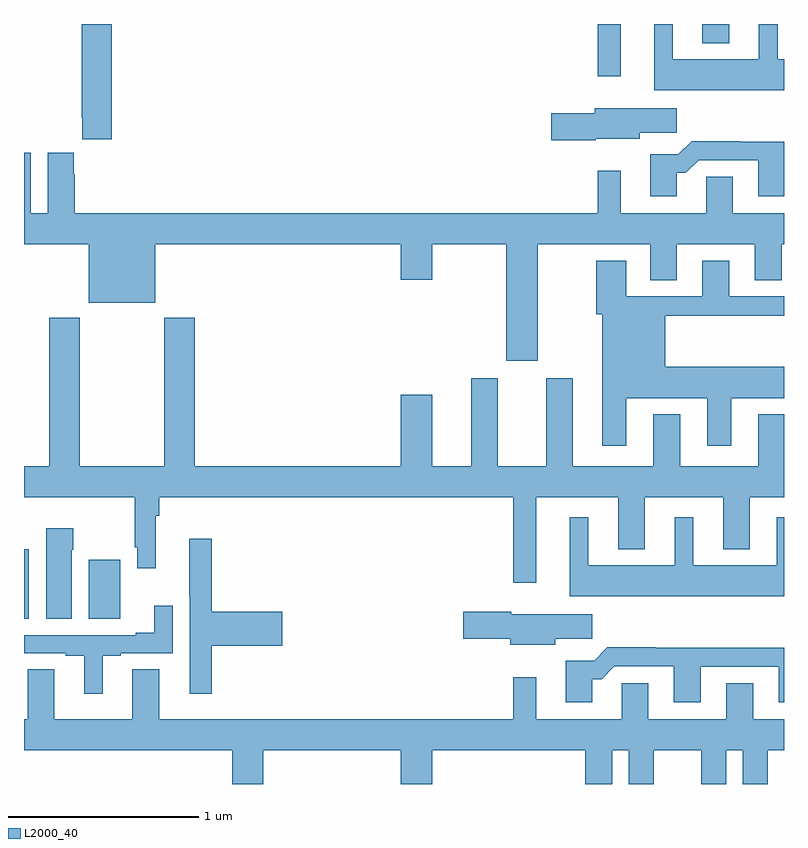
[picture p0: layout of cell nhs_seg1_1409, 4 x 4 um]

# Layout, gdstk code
import gdstk
lib = gdstk.Library(unit=1e-6, precision=1e-09)
def R(c, l, rs):  # rectangles x0, y0, x1, y1
    for r in rs: c.add(gdstk.rectangle(r[:2], r[2:], *l))
def P(c, l, *ps):  # polygons
    for p in ps: c.add(gdstk.Polygon(p, *l))
L2000_40 = (2000, 40)

nhs_seg1_1409 = lib.new_cell('nhs_seg1_1409')
R(nhs_seg1_1409, L2000_40, [(187,575.068,187.024,575.434), (187.34,575.068,187.507,575.38), (190.02,577.923,190.141,578.199), (190.571,578.099,190.711,578.199)])
P(nhs_seg1_1409, L2000_40, [(191,578.014),(190.966,578.014),(190.966,578.199),(190.868,578.199),(190.868,578.014),(190.414,578.014),(190.414,578.199),(190.316,578.199),(190.316,577.85),(191,577.85)],
  [(187.463,578.199),(187.303,578.199),(187.303,577.705),(187.307,577.705),(187.307,577.593),(187.463,577.593)],
  [(190.008,577.595),(190.24,577.595),(190.24,577.627),(190.435,577.627),(190.435,577.756),(190.004,577.756),(190.004,577.73),(189.774,577.73),(189.774,577.588),(190.008,577.588)],
  [(190.435,577.415),(190.484,577.415),(190.551,577.482),(190.865,577.482),(190.865,577.293),(191,577.293),(191,577.58),(190.769,577.58),(190.769,577.583),(190.514,577.583),(190.444,577.513),(190.295,577.513),(190.295,577.293),(190.435,577.293)],
  [(187.268,577.409),(187.261,577.409),(187.261,577.522),(187.124,577.522),(187.124,577.204),(187.036,577.204),(187.036,577.522),(187,577.522),(187,577.04),(187.34,577.04),(187.34,576.731),(187.69,576.731),(187.69,577.04),(188.984,577.04),(188.984,576.852),(189.148,576.852),(189.148,577.04),(189.539,577.04),(189.539,576.426),(189.703,576.426),(189.703,577.04),(190.295,577.04),(190.295,576.85),(190.435,576.85),(190.435,577.04),(190.847,577.04),(190.847,576.85),(190.987,576.85),(190.987,577.04),(191,577.04),(191,577.204),(190.729,577.204),(190.729,577.394),(190.59,577.394),(190.59,577.204),(190.141,577.204),(190.141,577.426),(190.02,577.426),(190.02,577.204),(187.268,577.204)],
  [(190.171,576.23),(190.595,576.23),(190.595,575.979),(190.723,575.979),(190.723,576.23),(191,576.23),(191,576.394),(190.375,576.394),(190.375,576.664),(191,576.664),(191,576.765),(190.711,576.765),(190.711,576.952),(190.571,576.952),(190.571,576.765),(190.171,576.765),(190.171,576.952),(190.012,576.952),(190.012,576.672),(190.043,576.672),(190.043,575.979),(190.171,575.979)],
  [(189.697,575.708),(190.127,575.708),(190.127,575.435),(190.267,575.435),(190.267,575.708),(190.679,575.708),(190.679,575.435),(190.819,575.435),(190.819,575.708),(191,575.708),(191,576.145),(190.865,576.145),(190.865,575.872),(190.453,575.872),(190.453,576.145),(190.313,576.145),(190.313,575.872),(189.889,575.872),(189.889,576.334),(189.749,576.334),(189.749,575.872),(189.493,575.872),(189.493,576.334),(189.353,576.334),(189.353,575.872),(189.148,575.872),(189.148,576.247),(188.984,576.247),(188.984,575.872),(187.898,575.872),(187.898,576.652),(187.738,576.652),(187.738,575.872),(187.293,575.872),(187.293,576.652),(187.133,576.652),(187.133,575.872),(187,575.872),(187,575.708),(187.584,575.708),(187.584,575.446),(187.596,575.446),(187.596,575.334),(187.694,575.334),(187.694,575.612),(187.712,575.612),(187.712,575.708),(189.576,575.708),(189.576,575.259),(189.697,575.259)],
  [(191,575.602),(190.961,575.602),(190.961,575.35),(190.522,575.35),(190.522,575.602),(190.424,575.602),(190.424,575.35),(189.97,575.35),(189.97,575.602),(189.872,575.602),(189.872,575.186),(191,575.186)],
  [(187.252,575.432),(187.26,575.432),(187.26,575.545),(187.118,575.545),(187.118,575.068),(187.252,575.068)],
  [(187.988,574.927),(188.359,574.927),(188.359,575.105),(187.988,575.105),(187.988,575.491),(187.871,575.491),(187.871,575.188),(187.872,575.188),(187.872,574.674),(187.988,574.674)],
  [(187.414,574.875),(187.51,574.875),(187.51,574.887),(187.782,574.887),(187.782,575.137),(187.685,575.137),(187.685,574.996),(187.589,574.996),(187.589,574.983),(187,574.983),(187,574.887),(187.22,574.887),(187.22,574.875),(187.316,574.875),(187.316,574.674),(187.414,574.674)],
  [(189.796,574.963),(189.991,574.963),(189.991,575.092),(189.564,575.092),(189.564,575.105),(189.312,575.105),(189.312,574.963),(189.56,574.963),(189.56,574.931),(189.796,574.931)],
  [(189.991,574.751),(190.04,574.751),(190.107,574.818),(190.421,574.818),(190.421,574.629),(190.561,574.629),(190.561,574.815),(190.973,574.815),(190.973,574.629),(191,574.629),(191,574.916),(190.325,574.916),(190.325,574.919),(190.07,574.919),(190,574.849),(189.851,574.849),(189.851,574.629),(189.991,574.629)],
  [(188.26,574.376),(188.984,574.376),(188.984,574.199),(189.148,574.199),(189.148,574.376),(189.953,574.376),(189.953,574.199),(190.096,574.199),(190.096,574.376),(190.184,574.376),(190.184,574.199),(190.315,574.199),(190.315,574.376),(190.565,574.376),(190.565,574.199),(190.696,574.199),(190.696,574.376),(190.784,574.376),(190.784,574.199),(190.915,574.199),(190.915,574.376),(191,574.376),(191,574.54),(190.837,574.54),(190.837,574.73),(190.697,574.73),(190.697,574.54),(190.285,574.54),(190.285,574.73),(190.146,574.73),(190.146,574.54),(189.697,574.54),(189.697,574.762),(189.576,574.762),(189.576,574.54),(187.711,574.54),(187.711,574.802),(187.571,574.802),(187.571,574.54),(187.159,574.54),(187.159,574.802),(187.019,574.802),(187.019,574.54),(187,574.54),(187,574.376),(188.096,574.376),(188.096,574.199),(188.26,574.199)])

lib.write_gds('nhs_seg1_1409.gds')
